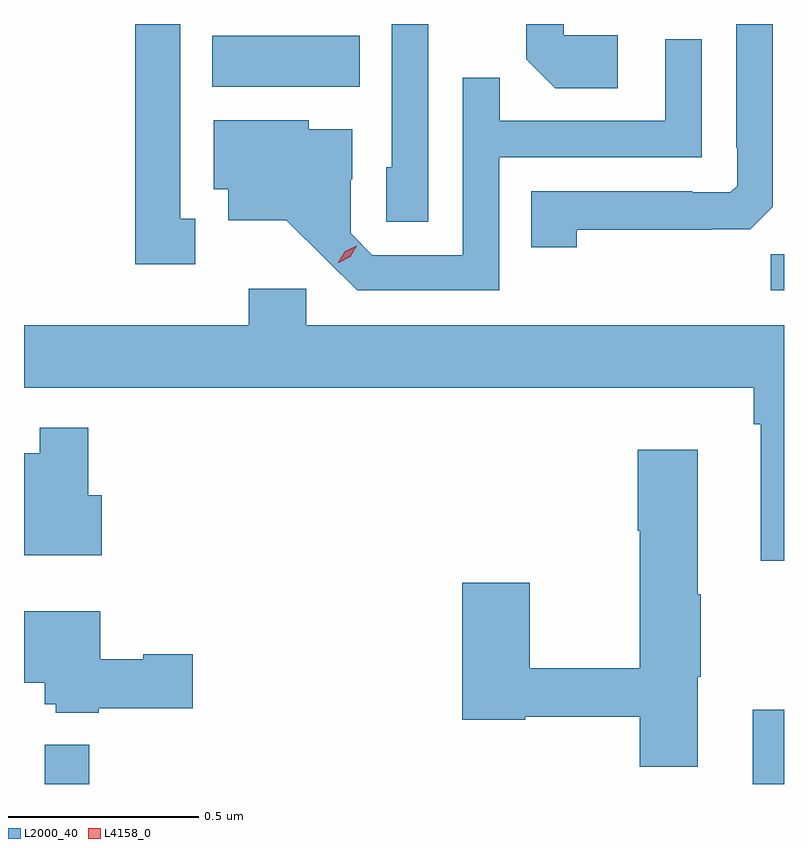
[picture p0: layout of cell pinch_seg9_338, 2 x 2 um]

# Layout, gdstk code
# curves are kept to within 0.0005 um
import gdstk
lib = gdstk.Library(unit=1e-6, precision=1e-09)
def R(c, l, rs):  # rectangles x0, y0, x1, y1
    for r in rs: c.add(gdstk.rectangle(r[:2], r[2:], *l))
def P(c, l, *ps):  # polygons
    for p in ps: c.add(gdstk.Polygon(p, *l))
L2000_40 = (2000, 40)
L4158_0 = (4158, 0)

pinch_seg9_338 = lib.new_cell('pinch_seg9_338')
R(pinch_seg9_338, L2000_40, [(616.448,1192.713,616.565,1192.816), (618.311,1192.713,618.393,1192.909), (618.358,1194.012,618.393,1194.107), (616.889,1194.548,617.276,1194.682)])
P(pinch_seg9_338, L2000_40, [(617.847,1194.172),(618.203,1194.172),(618.203,1194.173),(618.304,1194.173),(618.363,1194.232),(618.363,1194.713),(618.267,1194.713),(618.267,1194.388),(618.27,1194.388),(618.27,1194.288),(618.252,1194.27),(618.152,1194.27),(618.152,1194.273),(617.728,1194.273),(617.728,1194.126),(617.847,1194.126)],
  [(617.457,1194.713),(617.361,1194.713),(617.361,1194.336),(617.346,1194.336),(617.346,1194.193),(617.457,1194.193)],
  [(617.956,1194.684),(617.814,1194.684),(617.814,1194.713),(617.715,1194.713),(617.715,1194.62),(617.791,1194.544),(617.956,1194.544)],
  [(616.843,1194.201),(616.804,1194.201),(616.804,1194.713),(616.686,1194.713),(616.686,1194.081),(616.843,1194.081)],
  [(617.643,1194.363),(618.177,1194.363),(618.177,1194.673),(618.081,1194.673),(618.081,1194.459),(617.645,1194.459),(617.645,1194.572),(617.547,1194.572),(617.547,1194.105),(617.31,1194.105),(617.253,1194.162),(617.253,1194.304),(617.257,1194.304),(617.257,1194.436),(617.142,1194.436),(617.142,1194.46),(616.892,1194.46),(616.892,1194.278),(616.931,1194.278),(616.931,1194.197),(617.083,1194.197),(617.27,1194.012),(617.643,1194.012)],
  [(618.393,1193.92),(617.136,1193.92),(617.136,1194.016),(616.985,1194.016),(616.985,1193.92),(616.393,1193.92),(616.393,1193.756),(618.313,1193.756),(618.313,1193.66),(618.332,1193.66),(618.332,1193.301),(618.393,1193.301)],
  [(616.597,1193.473),(616.562,1193.473),(616.562,1193.65),(616.434,1193.65),(616.434,1193.584),(616.393,1193.584),(616.393,1193.315),(616.597,1193.315)],
  [(618.166,1192.995),(618.174,1192.995),(618.174,1193.213),(618.166,1193.213),(618.166,1193.593),(618.008,1193.593),(618.008,1193.38),(618.013,1193.38),(618.013,1193.018),(617.724,1193.018),(617.724,1193.242),(617.546,1193.242),(617.546,1192.882),(617.712,1192.882),(617.712,1192.89),(618.013,1192.89),(618.013,1192.758),(618.166,1192.758)],
  [(616.59,1192.912),(616.837,1192.912),(616.837,1193.054),(616.707,1193.054),(616.707,1193.041),(616.594,1193.041),(616.594,1193.167),(616.393,1193.167),(616.393,1192.979),(616.448,1192.979),(616.448,1192.923),(616.476,1192.923),(616.476,1192.901),(616.59,1192.901)])
P(pinch_seg9_338, L4158_0, [(617.22,1194.085),(617.22,1194.086),(617.238,1194.115),(617.268,1194.13),(617.268,1194.13),(617.268,1194.13),(617.251,1194.1),(617.221,1194.085)])

lib.write_gds('pinch_seg9_338.gds')
